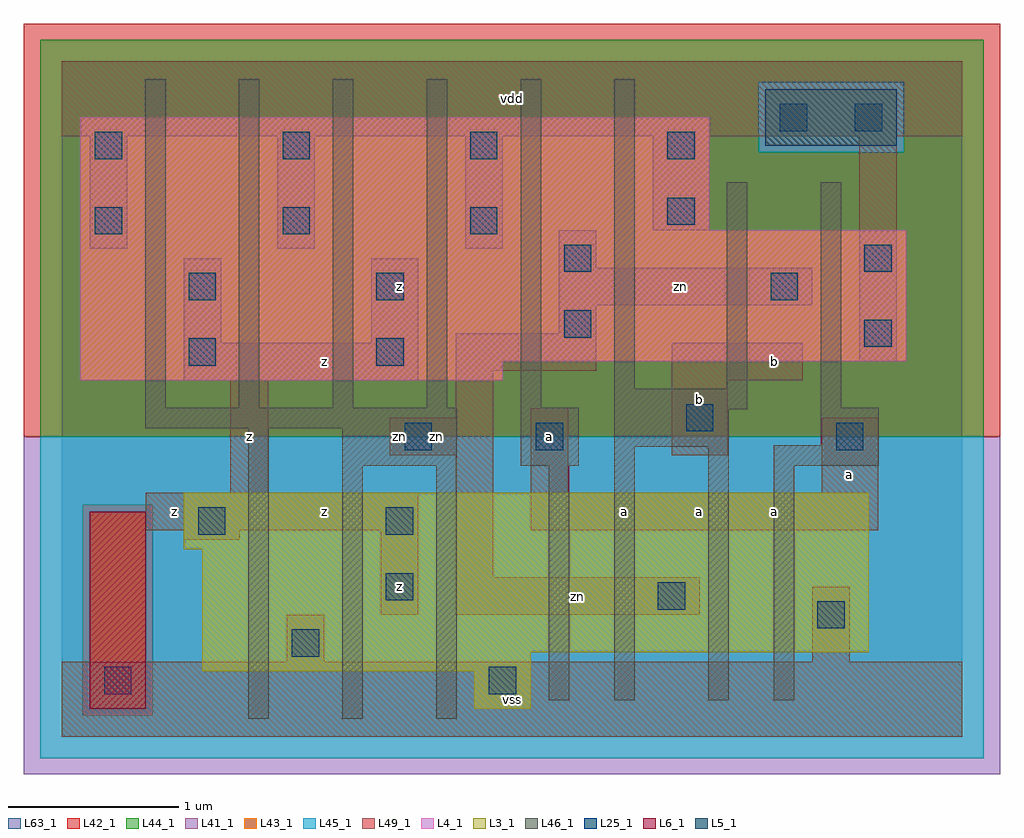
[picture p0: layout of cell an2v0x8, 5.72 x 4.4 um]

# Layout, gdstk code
import gdstk
lib = gdstk.Library(unit=1e-6, precision=1e-09)
def R(c, l, rs):  # rectangles x0, y0, x1, y1
    for r in rs: c.add(gdstk.rectangle(r[:2], r[2:], *l))
def A(c, l, x, y, w, h, nx, ny, dx, dy):  # array of equal rectangles
    R(c, l, [(x+i*dx, y+j*dy, x+i*dx+w, y+j*dy+h) for i in range(nx) for j in range(ny)])
L3_1 = (3, 1)
L4_1 = (4, 1)
L5_1 = (5, 1)
L6_1 = (6, 1)
L25_1 = (25, 1)
L41_1 = (41, 1)
L42_1 = (42, 1)
L43_1 = (43, 1)
L44_1 = (44, 1)
L45_1 = (45, 1)
L46_1 = (46, 1)
L49_1 = (49, 1)
L63_1 = (63, 1)

an2v0x8 = lib.new_cell('an2v0x8')
R(an2v0x8, L3_1, [(2.42,0.165,2.75,0.385), (0.825,0.385,2.75,0.495), (0.825,0.495,4.73,1.1), (0.715,1.1,4.73,1.43)])
R(an2v0x8, L4_1, [(0.11,2.09,2.585,2.2), (0.11,2.2,4.95,2.97), (0.11,2.97,3.795,3.63)])
R(an2v0x8, L5_1, [(4.125,3.465,4.895,3.795)])
R(an2v0x8, L6_1, [(0.165,0.165,0.495,1.32)])
A(an2v0x8, L25_1, 0.195, 2.945, 0.16, 0.16, 3, 2, 1.1, 0.44)
R(an2v0x8, L25_1, [(0.25,0.25,0.41,0.41), (2.505,0.25,2.665,0.41), (1.35,0.47,1.51,0.63), (4.43,0.635,4.59,0.795), (3.495,0.745,3.655,0.905), (1.9,0.8,2.06,0.96), (0.8,1.185,0.96,1.345), (1.9,1.185,2.06,1.345), (2.01,1.68,2.17,1.84), (2.78,1.68,2.94,1.84), (4.54,1.68,4.7,1.84), (3.66,1.79,3.82,1.95), (0.745,2.175,0.905,2.335), (1.845,2.175,2.005,2.335), (4.705,2.285,4.865,2.445), (2.945,2.34,3.105,2.5), (0.745,2.56,0.905,2.72), (1.845,2.56,2.005,2.72), (4.155,2.56,4.315,2.72), (2.945,2.725,3.105,2.885), (4.705,2.725,4.865,2.885), (3.55,3,3.71,3.16), (3.55,3.385,3.71,3.545), (4.21,3.55,4.37,3.71), (4.65,3.55,4.81,3.71)])
R(an2v0x8, L41_1, [(-0.22,-0.22,5.5,1.76)])
R(an2v0x8, L42_1, [(-0.22,1.76,5.5,4.18)])
R(an2v0x8, L43_1, [(0.165,0.165,0.495,1.32), (2.42,0.165,2.75,0.385), (0.825,0.385,2.75,0.495), (0.825,0.495,4.73,1.1), (0.715,1.1,4.73,1.43), (0.11,2.09,2.585,2.2), (0.11,2.2,4.95,2.97), (0.11,2.97,3.795,3.63), (4.125,3.465,4.895,3.795)])
R(an2v0x8, L44_1, [(0.125,0.125,0.535,1.36), (-0.125,1.76,5.405,3.425), (-0.125,3.425,4.085,3.835), (4.935,3.425,5.405,3.835), (-0.125,3.835,5.405,4.085)])
R(an2v0x8, L45_1, [(-0.125,-0.125,5.405,0.125), (-0.125,0.125,0.125,1.36), (0.535,0.125,5.405,1.36), (-0.125,1.36,5.405,1.76), (4.085,3.425,4.935,3.835)])
A(an2v0x8, L46_1, 0.49, 1.93, 0.12, 1.925, 5, 1, 0.55, 0)
R(an2v0x8, L46_1, [(1.095,0.105,1.215,1.81), (1.645,0.105,1.765,1.59), (2.195,0.105,2.315,1.59), (2.855,0.215,2.975,1.59), (3.24,0.215,3.36,1.7), (3.79,0.215,3.91,1.7), (4.175,0.215,4.295,1.59), (1.645,1.59,2.315,1.81), (2.69,1.59,3.03,1.93), (4.175,1.59,4.79,1.71), (3.24,1.7,3.91,1.92), (4.45,1.71,4.79,1.93), (0.49,1.81,2.315,1.93), (3.24,1.92,4.02,2.04), (4.45,1.93,4.57,3.25), (3.24,2.04,3.36,3.855), (3.9,2.04,4.02,3.25)])
A(an2v0x8, L49_1, 0.165, 2.86, 0.22, 0.66, 3, 1, 1.1, 0)
R(an2v0x8, L49_1, [(0,0,5.28,0.44), (1.32,0.44,1.54,0.715), (4.4,0.44,4.62,0.88), (1.87,0.715,2.09,1.21), (2.31,0.715,3.74,0.935), (2.31,0.935,2.53,1.65), (0.715,1.155,1.045,1.21), (0.495,1.21,2.09,1.43), (2.75,1.21,4.785,1.43), (0.99,1.43,1.21,2.09), (2.75,1.43,2.97,1.925), (4.455,1.43,4.785,1.87), (1.925,1.65,2.53,1.87), (3.575,1.65,3.905,2.09), (2.31,1.87,2.53,2.145), (0.715,2.09,2.09,2.31), (3.575,2.09,4.345,2.31), (2.31,2.145,3.135,2.365), (4.675,2.2,4.895,3.52), (0.715,2.31,0.935,2.805), (1.815,2.31,2.09,2.805), (2.915,2.365,3.135,2.53), (2.915,2.53,4.4,2.75), (2.915,2.75,3.135,2.97), (3.465,2.97,3.795,3.52), (0,3.52,5.28,3.96)])
R(an2v0x8, L63_1, [(0,0,5.28,3.96)])
an2v0x8.add(gdstk.Label('zn', (1.98,1.76), layer=46, texttype=1))
an2v0x8.add(gdstk.Label('z', (0.66,1.32), layer=49, texttype=1))
an2v0x8.add(gdstk.Label('z', (1.54,1.32), layer=49, texttype=1))
an2v0x8.add(gdstk.Label('z', (1.1,1.76), layer=49, texttype=1))
an2v0x8.add(gdstk.Label('z', (1.54,2.2), layer=49, texttype=1))
an2v0x8.add(gdstk.Label('vss', (2.64,0.22), layer=49, texttype=1))
an2v0x8.add(gdstk.Label('z', (1.98,0.88), layer=49, texttype=1))
an2v0x8.add(gdstk.Label('a', (2.86,1.76), layer=49, texttype=1))
an2v0x8.add(gdstk.Label('zn', (2.2,1.76), layer=49, texttype=1))
an2v0x8.add(gdstk.Label('z', (1.98,2.64), layer=49, texttype=1))
an2v0x8.add(gdstk.Label('vdd', (2.64,3.74), layer=49, texttype=1))
an2v0x8.add(gdstk.Label('zn', (3.025,0.825), layer=49, texttype=1))
an2v0x8.add(gdstk.Label('a', (3.3,1.32), layer=49, texttype=1))
an2v0x8.add(gdstk.Label('a', (4.18,1.32), layer=49, texttype=1))
an2v0x8.add(gdstk.Label('a', (3.74,1.32), layer=49, texttype=1))
an2v0x8.add(gdstk.Label('b', (4.18,2.2), layer=49, texttype=1))
an2v0x8.add(gdstk.Label('b', (3.74,1.98), layer=49, texttype=1))
an2v0x8.add(gdstk.Label('a', (4.62,1.54), layer=49, texttype=1))
an2v0x8.add(gdstk.Label('zn', (3.63,2.64), layer=49, texttype=1))

lib.write_gds('an2v0x8.gds')
